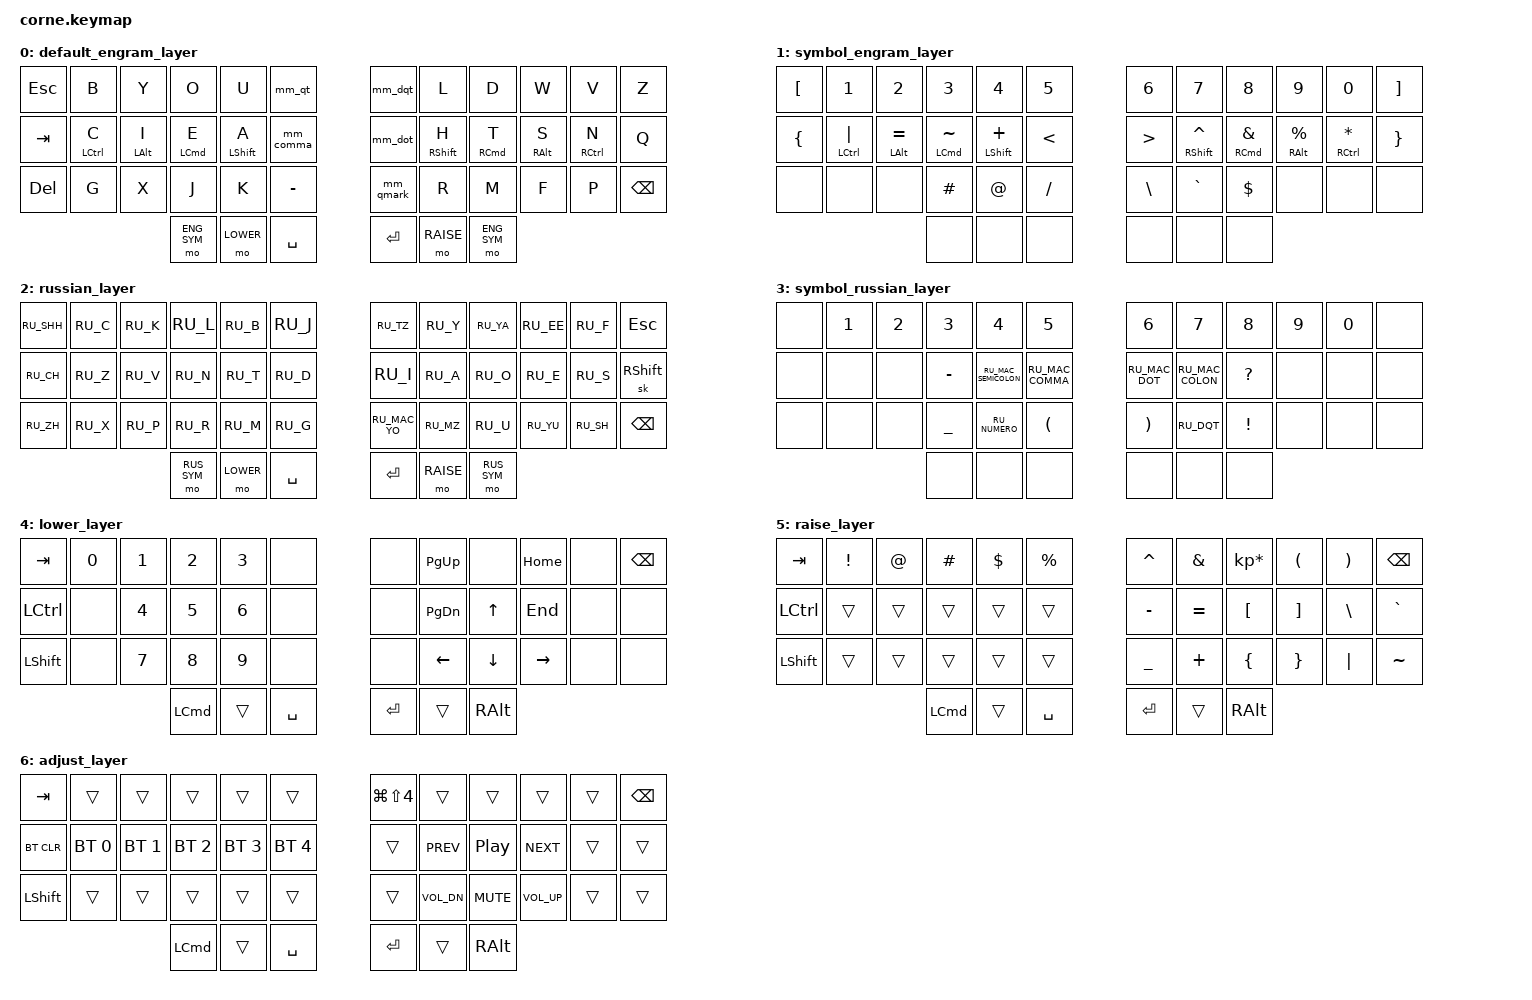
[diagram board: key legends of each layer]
/*
 * Copyright (c) 2020 The ZMK Contributors
 *
 * SPDX-License-Identifier: MIT
 */

#include <behaviors.dtsi>
#include <dt-bindings/zmk/keys.h>
#include <dt-bindings/zmk/bt.h>
#include "keys_ru.h"

#define DEFAULT    0
#define ENG_SYM    1
#define RUSSIAN    2
#define RUS_SYM    3
#define LOWER      4
#define RAISE      5
#define ADJUST     6

&sk {
  quick-release;
};

/ {
  combos {
// ┌───┬───┬───┬───┬───┬───┐  ┌───┬───┬───┬───┬───┬───┐
// │  0│  1│  2│  3│  4│  5│  │  6│  7│  8│ 9 │ 10│ 11│
// ├───┼───┼───┼───┼───┼───┤  ├───┼───┼───┼───┼───┼───┤
// │ 12│ 13│ 14│ 15│ 16│ 17│  │ 18│ 19│ 20│ 21│ 22│ 23│
// ├───┼───┼───┼───┼───┼───┤  ├───┼───┼───┼───┼───┼───┤
// │ 24│ 25│ 26│ 27│ 28│ 29│  │ 30│ 31│ 32│ 33│ 34│ 35│
// └───┴───┴───┼───┼───┼───┤  ├───┼───┼───┼───┴───┴───┘
//             │ 36│ 37│ 38│  │ 39│ 40│ 41│
//             └───┴───┴───┘  └───┴───┴───┘
    compatible = "zmk,combos";
    combo_lock_screen {
// ┌───┬───┬───┬───┬───┬───┐  ┌───┬───┬───┬───┬───┬───┐
// │   │   │   │   │   │   │  │   │   │   │   │   │   │
// ├───┼───┼───┼───┼───┼───┤  ├───┼───┼───┼───┼───┼───┤
// │   │   │   │   │   │   │  │   │   │   │   │   │   │
// ├───┼───┼───┼───┼───┼───┤  ├───┼───┼───┼───┼───┼───┤
// │   │   │ █ │ █ │ █ │   │  │   │   │   │   │   │   │
// └───┴───┴───┼───┼───┼───┤  ├───┼───┼───┼───┴───┴───┘
//             │   │   │   │  │   │   │   │
//             └───┴───┴───┘  └───┴───┴───┘
      timeout-ms = <50>;
      key-positions = <26 27 28>;
      bindings = <&kp LC(LG(Q))>;
    };
    combo_caps_lock {
// ┌───┬───┬───┬───┬───┬───┐  ┌───┬───┬───┬───┬───┬───┐
// │   │   │   │   │   │   │  │   │   │   │   │   │   │
// ├───┼───┼───┼───┼───┼───┤  ├───┼───┼───┼───┼───┼───┤
// │   │   │   │   │   │ █ │  │ █ │   │   │   │   │   │
// ├───┼───┼───┼───┼───┼───┤  ├───┼───┼───┼───┼───┼───┤
// │   │   │   │   │   │   │  │   │   │   │   │   │   │
// └───┴───┴───┼───┼───┼───┤  ├───┼───┼───┼───┴───┴───┘
//             │   │   │   │  │   │   │   │
//             └───┴───┴───┘  └───┴───┴───┘
      timeout-ms = <50>;
      key-positions = <17 18>;
      bindings = <&kp CAPSLOCK>;
    };
    combo_russian_layer {
// ┌───┬───┬───┬───┬───┬───┐  ┌───┬───┬───┬───┬───┬───┐
// │   │   │   │   │   │   │  │   │   │   │   │   │   │
// ├───┼───┼───┼───┼───┼───┤  ├───┼───┼───┼───┼───┼───┤
// │   │   │   │   │   │   │  │   │   │   │   │   │   │
// ├───┼───┼───┼───┼───┼───┤  ├───┼───┼───┼───┼───┼───┤
// │ █ │   │   │   │   │   │  │   │   │   │   │   │ █ │
// └───┴───┴───┼───┼───┼───┤  ├───┼───┼───┼───┴───┴───┘
//             │   │   │   │  │   │   │   │
//             └───┴───┴───┘  └───┴───┴───┘
      timeout-ms = <50>;
      key-positions = <24 35>;
      bindings = <&tog RUSSIAN>;
    };
  };

  conditional_layers {
    compatible = "zmk,conditional-layers";
    adjust_layer {
      if-layers = <LOWER RAISE>;
      then-layer = <ADJUST>;
    };
  };

  behaviors {
    hml: homerow_mods_left {
      compatible = "zmk,behavior-hold-tap";
      #binding-cells = <2>;
      tapping-term-ms = <280>;
      quick-tap-ms = <175>;
      require-prior-idle-ms = <150>;
      flavor = "balanced";
      bindings = <&kp>, <&kp>;
      hold-trigger-key-positions = <6 7 8 9 10 11 18 19 20 21 22 23 30 31 32 33 34 35 36 37 38 39 40 41>;
      hold-trigger-on-release;
    };
    hmr: homerow_mods_right {
      compatible = "zmk,behavior-hold-tap";
      #binding-cells = <2>;
      tapping-term-ms = <280>;
      quick-tap-ms = <175>;
      require-prior-idle-ms = <150>;
      flavor = "balanced";
      bindings = <&kp>, <&kp>;
      hold-trigger-key-positions = <0 1 2 3 4 5 12 13 14 15 16 17 24 25 26 27 28 29 36 37 38 39 40 41>;
      hold-trigger-on-release;
    };
// engram
    mm_qt: quote_open_parenthesis {
      compatible = "zmk,behavior-mod-morph";
      #binding-cells = <0>;
      bindings = <&kp APOS>, <&kp LPAR>;
      mods = <(MOD_LSFT|MOD_RSFT)>;
    };
    mm_dqt: double_quote_close_parenthesis {
      compatible = "zmk,behavior-mod-morph";
      #binding-cells = <0>;
      bindings = <&kp DQT>, <&kp RPAR>;
      mods = <(MOD_LSFT|MOD_RSFT)>;
    };
    mm_comma: comma_semicolon {
      compatible = "zmk,behavior-mod-morph";
      #binding-cells = <0>;
      bindings = <&kp COMMA>, <&kp SEMICOLON>;
      mods = <(MOD_LSFT|MOD_RSFT)>;
    };
    mm_dot: dot_colon {
      compatible = "zmk,behavior-mod-morph";
      #binding-cells = <0>;
      bindings = <&kp DOT>, <&kp COLON>;
      mods = <(MOD_LSFT|MOD_RSFT)>;
    };
    mm_qmark: question_mark_exclamation {
      compatible = "zmk,behavior-mod-morph";
      #binding-cells = <0>;
      bindings = <&kp QMARK>, <&kp EXCL>;
      mods = <(MOD_LSFT|MOD_RSFT)>;
    };
  };

  keymap {
    compatible = "zmk,keymap";

    default_engram_layer {
// ┌───────┬───────┬───────┬───────┬───────┬───────┐     ┌───────┬───────┬───────┬───────┬───────┬───────┐
// │   ESC │     B │     Y │     O │     U │   ' ( │     │   " ) │     L │     D │     W │     V │     Z │
// ├───────┼───────┼───────┼───────┼───────┼───────┤     ├───────┼───────┼───────┼───────┼───────┼───────┤
// │   TAB │  LC C │  LA I │  LG E │  LS A │   , ; │     │   . : │  RS H │  RG T │  RA S │  RC N │     Q │
// ├───────┼───────┼───────┼───────┼───────┼───────┤     ├───────┼───────┼───────┼───────┼───────┼───────┤
// │   DEL │     G │     X │     J │     K │   - _ │     │   ? ! │     R │     M │     F │     P │  BSPC │
// └───────┴───────┴───────┼───────┼───────┼───────┤     ├───────┼───────┼───────┼───────┴───────┴───────┘
//                         │   SYM │   LWR │   SPC │     │   ENT │   RSE │   SYM │
//                         └───────┴───────┴───────┘     └───────┴───────┴───────┘
      bindings = <
     &kp ESC  &kp B         &kp Y        &kp O        &kp U         &mm_qt         &mm_dqt    &kp L         &kp D        &kp W        &kp V         &kp Z
     &kp TAB  &hml LCTRL C  &hml LALT I  &hml LCMD E  &hml LSHFT A  &mm_comma      &mm_dot    &hmr RSHFT H  &hmr RCMD T  &hmr RALT S  &hmr RCTRL N  &kp Q
     &kp DEL  &kp G         &kp X        &kp J        &kp K         &kp MINUS      &mm_qmark  &kp R         &kp M        &kp F        &kp P         &kp BSPC
                                         &mo ENG_SYM  &mo LOWER     &kp SPACE      &kp RET    &mo RAISE     &mo ENG_SYM
      >;
    };

    symbol_engram_layer {
// ┌───────┬───────┬───────┬───────┬───────┬───────┐     ┌───────┬───────┬───────┬───────┬───────┬───────┐
// │     [ │     1 │     2 │     3 │     4 │     5 │     │     6 │     7 │     8 │     9 │     0 │     ] │
// ├───────┼───────┼───────┼───────┼───────┼───────┤     ├───────┼───────┼───────┼───────┼───────┼───────┤
// │     { │  LC | │  LA = │  LG ~ │  LS + │     < │     │     > │  RS ^ │  RG & │  RA % │  RC * │     } │
// ├───────┼───────┼───────┼───────┼───────┼───────┤     ├───────┼───────┼───────┼───────┼───────┼───────┤
// │       │       │       │     # │     @ │     / │     │     \ │     ` │     $ │       │       │       │
// └───────┴───────┴───────┼───────┼───────┼───────┤     ├───────┼───────┼───────┼───────┴───────┴───────┘
//                         │       │       │       │     │       │       │       │
//                         └───────┴───────┴───────┘     └───────┴───────┴───────┘
      bindings = <
     &kp LBKT  &kp N1           &kp N2           &kp N3           &kp N4           &kp N5        &kp N6    &kp N7            &kp N8          &kp N9           &kp N0           &kp RBKT
     &kp LBRC  &hml LCTRL PIPE  &hml LALT EQUAL  &hml LCMD TILDE  &hml LSHFT PLUS  &kp LT        &kp GT    &hmr RSHFT CARET  &hmr RCMD AMPS  &hmr RALT PRCNT  &hmr RCTRL STAR  &kp RBRC
     &none     &none            &none            &kp HASH         &kp AT           &kp FSLH      &kp BSLH  &kp GRAVE         &kp DLLR        &none            &none            &none
                                                 &none            &none            &none         &none     &none             &none
      >;
    };

    russian_layer {
// ┌───┬───┬───┬───┬───┬───┐     ┌───┬───┬───┬───┬───┬───┐
// │ Щ │ Ц │ К │ Л │ Б │ Й │     │ Ъ │ Ы │ Я │ Э │ Ф │ESC│
// ├───┼───┼───┼───┼───┼───┤     ├───┼───┼───┼───┼───┼───┤
// │ Ч │ З │ В │ Н │ Т │ Д │     │ И │ А │ О │ Е │ С │RSH│
// ├───┼───┼───┼───┼───┼───┤     ├───┼───┼───┼───┼───┼───┤
// │ Ж │ Х │ П │ Р │ М │ Г │     │ Ё │ Ь │ У │ Ю │ Ш │BSP│
// └───┴───┴───┼───┼───┼───┤     ├───┼───┼───┼───┴───┴───┘
//             │SYM│LWR│SPC│     │ENT│RSE│SYM│
//             └───┴───┴───┘     └───┴───┴───┘
      bindings = <
     &kp RU_SHH  &kp RU_C  &kp RU_K  &kp RU_L     &kp RU_B    &kp RU_J      &kp RU_TZ      &kp RU_Y   &kp RU_YA  &kp RU_EE  &kp RU_F   &kp ESC
     &kp RU_CH   &kp RU_Z  &kp RU_V  &kp RU_N     &kp RU_T    &kp RU_D      &kp RU_I       &kp RU_A   &kp RU_O   &kp RU_E   &kp RU_S   &sk RSHFT
     &kp RU_ZH   &kp RU_X  &kp RU_P  &kp RU_R     &kp RU_M    &kp RU_G      &kp RU_MAC_YO  &kp RU_MZ  &kp RU_U   &kp RU_YU  &kp RU_SH  &kp BSPC
                                     &mo RUS_SYM  &mo LOWER   &kp SPACE     &kp RET        &mo RAISE  &mo RUS_SYM
      >;
    };

    symbol_russian_layer {
// ┌───┬───┬───┬───┬───┬───┐     ┌───┬───┬───┬───┬───┬───┐
// │   │ 1 │ 2 │ 3 │ 4 │ 5 │     │ 6 │ 7 │ 8 │ 9 │ 0 │   │
// ├───┼───┼───┼───┼───┼───┤     ├───┼───┼───┼───┼───┼───┤
// │   │   │   │ - │ ; │ , │     │ . │ : │ ? │   │   │   │
// ├───┼───┼───┼───┼───┼───┤     ├───┼───┼───┼───┼───┼───┤
// │   │   │   │ _ │ № │ ( │     │ ) │ " │ ! │   │   │   │
// └───┴───┴───┼───┼───┼───┤     ├───┼───┼───┼───┴───┴───┘
//             │   │   │   │     │   │   │   │
//             └───┴───┴───┘     └───┴───┴───┘
      bindings = <
     &none  &kp N1  &kp N2  &kp N3     &kp N4                &kp N5                &kp N6          &kp N7            &kp N8     &kp N9  &kp N0  &none
     &none  &none   &none   &kp MINUS  &kp RU_MAC_SEMICOLON  &kp RU_MAC_COMMA      &kp RU_MAC_DOT  &kp RU_MAC_COLON  &kp QMARK  &none   &none   &none
     &none  &none   &none   &kp UNDER  &kp RU_NUMERO         &kp LPAR              &kp RPAR        &kp RU_DQT        &kp EXCL   &none   &none   &none
                            &none      &none                 &none                 &none           &none             &none
      >;
    };

    lower_layer {
// ┌───────┬───────┬───────┬───────┬───────┬───────┐     ┌───────┬───────┬───────┬───────┬───────┬───────┐
// │   TAB │     0 │     1 │     2 │     3 │       │     │       │ PG UP │       │  HOME │       │  BKSP │
// ├───────┼───────┼───────┼───────┼───────┼───────┤     ├───────┼───────┼───────┼───────┼───────┼───────┤
// │ LCTRL │       │     4 │     5 │     6 │       │     │       │ PG DN │    UP │   END │       │       │
// ├───────┼───────┼───────┼───────┼───────┼───────┤     ├───────┼───────┼───────┼───────┼───────┼───────┤
// │ LSHFT │       │     7 │     8 │     9 │       │     │       │   LFT │  DOWN │   RGT │       │       │
// └───────┴───────┴───────┼───────┼───────┼───────┤     ├───────┼───────┼───────┼───────┴───────┴───────┘
//                         │  LCMD │       │ SPACE │     │ ENTER │       │  RALT │
//                         └───────┴───────┴───────┘     └───────┴───────┴───────┘
      bindings = <
     &kp TAB    &kp N0  &kp N1  &kp N2    &kp N3  &none          &none    &kp PG_UP  &none     &kp HOME   &none  &kp BSPC
     &kp LCTRL  &none   &kp N4  &kp N5    &kp N6  &none          &none    &kp PG_DN  &kp UP    &kp END    &none  &none
     &kp LSHFT  &none   &kp N7  &kp N8    &kp N9  &none          &none    &kp LEFT   &kp DOWN  &kp RIGHT  &none  &none
                                &kp LCMD  &trans  &kp SPACE      &kp RET  &trans     &kp RALT
      >;
    };

    raise_layer {
// ┌───────┬───────┬───────┬───────┬───────┬───────┐     ┌───────┬───────┬───────┬───────┬───────┬───────┐
// │   TAB │     ! │     @ │     # │     $ │     % │     │     ^ │     & │     * │     ( │     ) │  BKSP │
// ├───────┼───────┼───────┼───────┼───────┼───────┤     ├───────┼───────┼───────┼───────┼───────┼───────┤
// │ LCTRL │       │       │       │       │       │     │     - │     = │     [ │     ] │     \ │     ` │
// ├───────┼───────┼───────┼───────┼───────┼───────┤     ├───────┼───────┼───────┼───────┼───────┼───────┤
// │ LSHFT │       │       │       │       │       │     │     _ │     + │     { │     } │     | │     ~ │
// └───────┴───────┴───────┼───────┼───────┼───────┤     ├───────┼───────┼───────┼───────┴───────┴───────┘
//                         │  LCMD │       │ SPACE │     │ ENTER │       │  RALT │
//                         └───────┴───────┴───────┘     └───────┴───────┴───────┘
      bindings = <
     &kp  TAB   &kp EXCL  &kp AT  &kp HASH  &kp DLLR  &kp PRCNT      &kp CARET  &kp AMPS   &kp KP_MULTIPLY  &kp LPAR  &kp RPAR  &kp BSPC
     &kp LCTRL  &trans    &trans  &trans    &trans    &trans         &kp MINUS  &kp EQUAL  &kp LBKT         &kp RBKT  &kp BSLH  &kp GRAVE
     &kp LSHFT  &trans    &trans  &trans    &trans    &trans         &kp UNDER  &kp PLUS   &kp LBRC         &kp RBRC  &kp PIPE  &kp TILDE
                                  &kp LCMD  &trans    &kp SPACE      &kp RET    &trans     &kp RALT
      >;
    };

    adjust_layer {
// ┌───────┬───────┬───────┬───────┬───────┬───────┐     ┌───────┬───────┬───────┬───────┬───────┬───────┐
// │   TAB │       │       │       │       │       │     │ CPTRE │       │       │       │       │  BKSP │
// ├───────┼───────┼───────┼───────┼───────┼───────┤     ├───────┼───────┼───────┼───────┼───────┼───────┤
// │ BTCLR │   BT1 │   BT2 │   BT3 │   BT4 │   BT5 │     │       │  PREV │ PL/PS │  NEXT │       │       │
// ├───────┼───────┼───────┼───────┼───────┼───────┤     ├───────┼───────┼───────┼───────┼───────┼───────┤
// │ LSHFT │       │       │       │       │       │     │       │ VL DN │  MUTE │ VL UP │       │       │
// └───────┴───────┴───────┼───────┼───────┼───────┤     ├───────┼───────┼───────┼───────┴───────┴───────┘
//                         │  LCMD │       │ SPACE │     │ ENTER │       │  RALT │
//                         └───────┴───────┴───────┘     └───────┴───────┴───────┘
      bindings = <
     &kp TAB     &trans        &trans        &trans        &trans        &trans            &kp LG(LS(N4))  &trans        &trans      &trans        &trans  &kp BSPC
     &bt BT_CLR  &bt BT_SEL 0  &bt BT_SEL 1  &bt BT_SEL 2  &bt BT_SEL 3  &bt BT_SEL 4      &trans          &kp C_PREV    &kp C_PP    &kp C_NEXT    &trans  &trans
     &kp LSHFT   &trans        &trans        &trans        &trans        &trans            &trans          &kp C_VOL_DN  &kp K_MUTE  &kp C_VOL_UP  &trans  &trans
                                             &kp LCMD      &trans        &kp SPACE         &kp RET         &trans        &kp RALT
      >;
    };

  };
};
